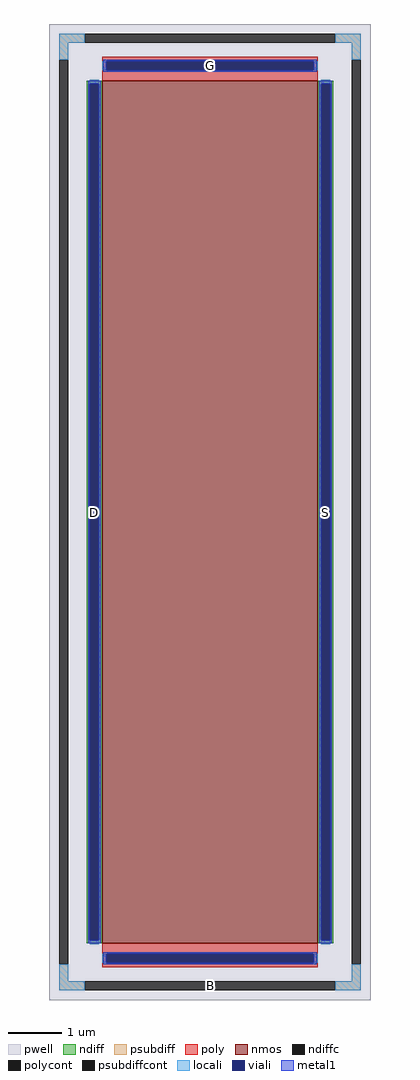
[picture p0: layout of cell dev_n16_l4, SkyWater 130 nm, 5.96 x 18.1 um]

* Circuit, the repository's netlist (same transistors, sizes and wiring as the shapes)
* NGSPICE file created from dev_n16_l4.ext - technology: sky130A

.subckt dev_n16_l4 B D S G
X0 S G D B sky130_fd_pr__nfet_01v8 ad=4.64 pd=32.58 as=4.64 ps=32.58 w=16 l=4
.ends

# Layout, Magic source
magic
tech sky130A
magscale 1 2
<< pwell >>
rect -596 -1810 596 1810
<< nmos >>
rect -400 -1600 400 1600
<< ndiff >>
rect -458 1588 -400 1600
rect -458 -1588 -446 1588
rect -412 -1588 -400 1588
rect -458 -1600 -400 -1588
rect 400 1588 458 1600
rect 400 -1588 412 1588
rect 446 -1588 458 1588
rect 400 -1600 458 -1588
<< ndiffc >>
rect -446 -1588 -412 1588
rect 412 -1588 446 1588
<< psubdiff >>
rect -560 1740 -464 1774
rect 464 1740 560 1774
rect -560 1678 -526 1740
rect 526 1678 560 1740
rect -560 -1740 -526 -1678
rect 526 -1740 560 -1678
rect -560 -1774 -464 -1740
rect 464 -1774 560 -1740
<< psubdiffcont >>
rect -464 1740 464 1774
rect -560 -1678 -526 1678
rect 526 -1678 560 1678
rect -464 -1774 464 -1740
<< poly >>
rect -400 1672 400 1688
rect -400 1638 -384 1672
rect 384 1638 400 1672
rect -400 1600 400 1638
rect -400 -1638 400 -1600
rect -400 -1672 -384 -1638
rect 384 -1672 400 -1638
rect -400 -1688 400 -1672
<< polycont >>
rect -384 1638 384 1672
rect -384 -1672 384 -1638
<< locali >>
rect -560 1740 -464 1774
rect 464 1740 560 1774
rect -560 1678 -526 1740
rect 526 1678 560 1740
rect -400 1638 -384 1672
rect 384 1638 400 1672
rect -446 1588 -412 1604
rect -446 -1604 -412 -1588
rect 412 1588 446 1604
rect 412 -1604 446 -1588
rect -400 -1672 -384 -1638
rect 384 -1672 400 -1638
rect -560 -1740 -526 -1678
rect 526 -1740 560 -1678
rect -560 -1774 -464 -1740
rect 464 -1774 560 -1740
<< viali >>
rect -384 1638 384 1672
rect -446 -1588 -412 1588
rect 412 -1588 446 1588
rect -384 -1672 384 -1638
<< metal1 >>
rect -396 1672 396 1678
rect -396 1638 -384 1672
rect 384 1638 396 1672
rect -396 1632 396 1638
rect -452 1588 -406 1600
rect -452 -1588 -446 1588
rect -412 -1588 -406 1588
rect -452 -1600 -406 -1588
rect 406 1588 452 1600
rect 406 -1588 412 1588
rect 446 -1588 452 1588
rect 406 -1600 452 -1588
rect -396 -1638 396 -1632
rect -396 -1672 -384 -1638
rect 384 -1672 396 -1638
rect -396 -1678 396 -1672
<< labels >>
rlabel psubdiffcont 0 -1757 0 -1757 0 B
port 1 nsew
rlabel ndiffc -429 0 -429 0 0 D
port 2 nsew
rlabel ndiffc 429 0 429 0 0 S
port 3 nsew
rlabel polycont 0 1655 0 1655 0 G
port 4 nsew
<< properties >>
string FIXED_BBOX -543 -1757 543 1757
<< end >>
